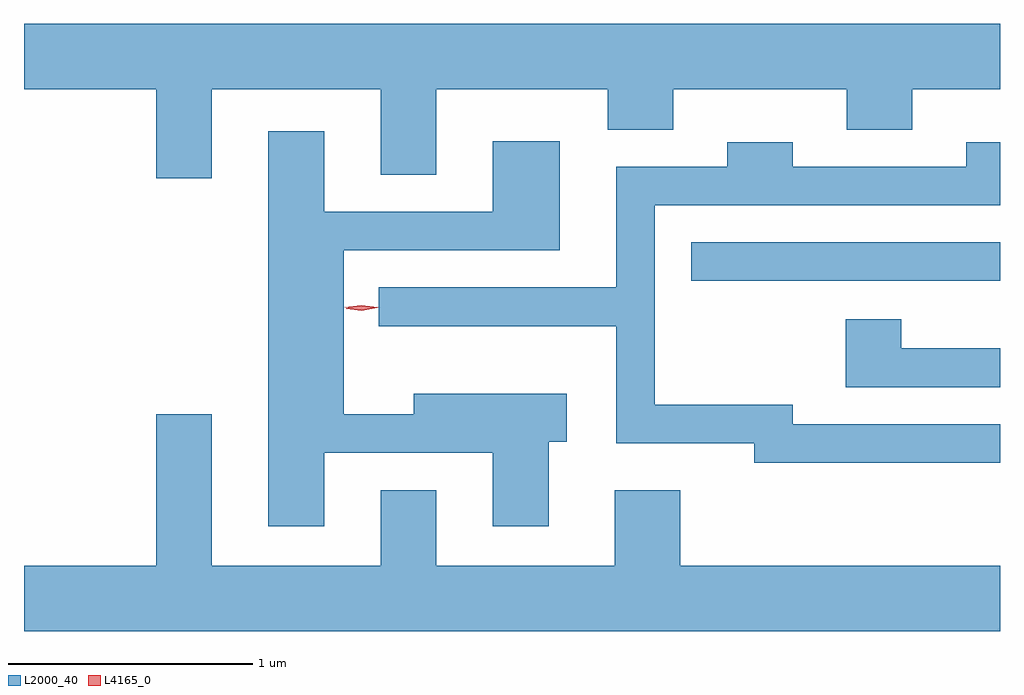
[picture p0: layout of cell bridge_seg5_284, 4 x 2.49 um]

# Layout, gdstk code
import gdstk
lib = gdstk.Library(unit=1e-6, precision=1e-09)
def R(c, l, rs):  # rectangles x0, y0, x1, y1
    for r in rs: c.add(gdstk.rectangle(r[:2], r[2:], *l))
def P(c, l, *ps):  # polygons
    for p in ps: c.add(gdstk.Polygon(p, *l))
L2000_40 = (2000, 40)
L4165_0 = (4165, 0)

bridge_seg5_284 = lib.new_cell('bridge_seg5_284')
R(bridge_seg5_284, L2000_40, [(720.343,1484.871,721.609,1485.029)])
P(bridge_seg5_284, L2000_40, [(718.379,1485.656),(719.071,1485.656),(719.071,1485.306),(719.299,1485.306),(719.299,1485.656),(720.001,1485.656),(720.001,1485.491),(720.269,1485.491),(720.269,1485.656),(720.981,1485.656),(720.981,1485.491),(721.249,1485.491),(721.249,1485.656),(721.609,1485.656),(721.609,1485.924),(717.609,1485.924),(717.609,1485.656),(718.151,1485.656),(718.151,1485.291),(718.379,1485.291)],
  [(718.839,1484.166),(719.531,1484.166),(719.531,1483.866),(719.759,1483.866),(719.759,1484.211),(719.834,1484.211),(719.834,1484.409),(719.206,1484.409),(719.206,1484.324),(718.919,1484.324),(718.919,1484.996),(719.804,1484.996),(719.804,1485.444),(719.531,1485.444),(719.531,1485.154),(718.839,1485.154),(718.839,1485.484),(718.611,1485.484),(718.611,1483.866),(718.839,1483.866)],
  [(721.609,1484.284),(720.759,1484.284),(720.759,1484.364),(720.194,1484.364),(720.194,1485.181),(721.609,1485.181),(721.609,1485.439),(721.471,1485.439),(721.471,1485.339),(720.759,1485.339),(720.759,1485.439),(720.491,1485.439),(720.491,1485.339),(720.036,1485.339),(720.036,1484.844),(719.063,1484.844),(719.063,1484.686),(720.036,1484.686),(720.036,1484.206),(720.601,1484.206),(720.601,1484.126),(721.609,1484.126)],
  [(721.609,1484.594),(721.204,1484.594),(721.204,1484.714),(720.976,1484.714),(720.976,1484.436),(721.609,1484.436)],
  [(721.609,1483.704),(720.299,1483.704),(720.299,1484.014),(720.031,1484.014),(720.031,1483.704),(719.299,1483.704),(719.299,1484.014),(719.071,1484.014),(719.071,1483.704),(718.379,1483.704),(718.379,1484.324),(718.151,1484.324),(718.151,1483.704),(717.609,1483.704),(717.609,1483.436),(721.609,1483.436)])
P(bridge_seg5_284, L4165_0, [(718.994,1484.749),(718.93,1484.757),(718.93,1484.758),(718.93,1484.758),(718.994,1484.769),(719.057,1484.76),(719.057,1484.76),(719.057,1484.76)],
  [(718.992,1484.752),(718.924,1484.762),(718.923,1484.762),(718.924,1484.763),(718.992,1484.772),(719.06,1484.763),(719.061,1484.762),(719.06,1484.762)])

lib.write_gds('bridge_seg5_284.gds')
